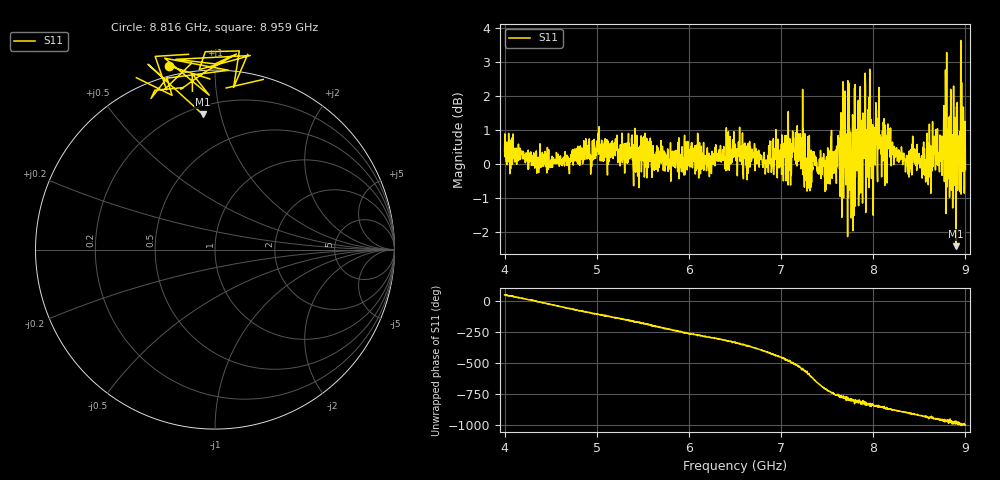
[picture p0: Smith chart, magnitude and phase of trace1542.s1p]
! Created with skrf 1.8.0 (http://scikit-rf.org).
# Hz S RI R 50.0
!freq ReS11 ImS11
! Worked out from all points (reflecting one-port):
!   1601 points, 4 GHz to 9 GHz, reference 50 ohm
!   lowest |S11| = -2.4 dB at 8.9 GHz (marker M1), VSWR 7.22, Z = 12.5 + j44.1 ohm
!   phase of S11 starts at 50 deg and turns -1052 deg over the sweep
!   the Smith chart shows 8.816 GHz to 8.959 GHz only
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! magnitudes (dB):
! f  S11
! 4 GHz  0.4
! 4.625 GHz  -0.1
! 5.009 GHz  0.4
! 5.25 GHz  0.2
! 5.875 GHz  0.0
! 6.5 GHz  0.2
! 6.825 GHz  0.1
! 7.125 GHz  1.0
! 7.209 GHz  0.9
! 7.262 GHz  0.0
! 7.497 GHz  -0.2
! 7.659 GHz  -1.6
! 7.688 GHz  0.7
! 7.75 GHz  0.5
! 7.769 GHz  -0.8
! 7.822 GHz  0.7
! 7.866 GHz  -0.8
! 7.891 GHz  0.5
! 7.997 GHz  0.9
! 8.05 GHz  0.7
! 8.375 GHz  0.2
! 8.666 GHz  0.3
! 8.728 GHz  0.2
! 8.775 GHz  1.5
! 8.844 GHz  -0.7
! 8.9 GHz  -2.4
! 8.972 GHz  0.5
! 9 GHz  -0.2
